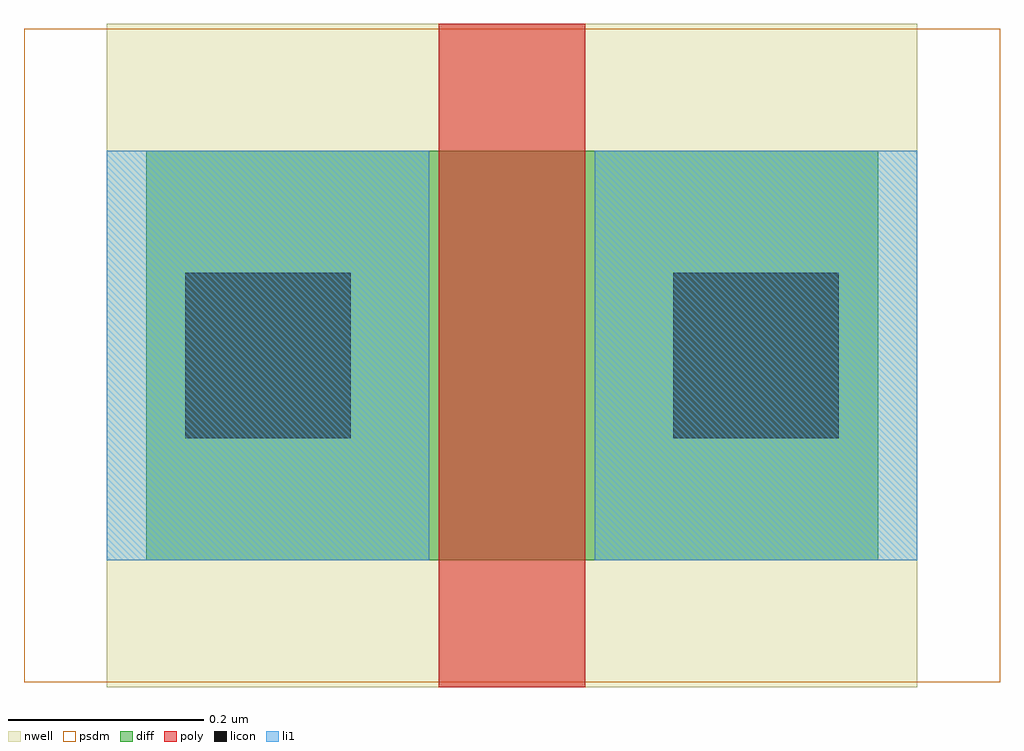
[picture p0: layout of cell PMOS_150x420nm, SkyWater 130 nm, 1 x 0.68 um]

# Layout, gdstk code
import gdstk
lib = gdstk.Library(unit=1e-6, precision=1e-09)
def R(c, l, rs):  # rectangles x0, y0, x1, y1
    for r in rs: c.add(gdstk.rectangle(r[:2], r[2:], *l))
nwell = (64, 20)
diff = (65, 20)
poly = (66, 20)
licon = (66, 44)
li1 = (67, 20)
psdm = (94, 20)

pmos_150x420nm = lib.new_cell('PMOS_150x420nm')
R(pmos_150x420nm, nwell, [(-1,0,-0.17,0.68)])
R(pmos_150x420nm, diff, [(-0.96,0.13,-0.21,0.55)])
R(pmos_150x420nm, poly, [(-0.66,0,-0.51,0.68)])
R(pmos_150x420nm, licon, [(-0.92,0.255,-0.75,0.425), (-0.42,0.255,-0.25,0.425)])
R(pmos_150x420nm, li1, [(-1,0.13,-0.67,0.55), (-0.5,0.13,-0.17,0.55)])
R(pmos_150x420nm, psdm, [(-1.085,0.005,-0.085,0.675)])

lib.write_gds('PMOS_150x420nm.gds')
